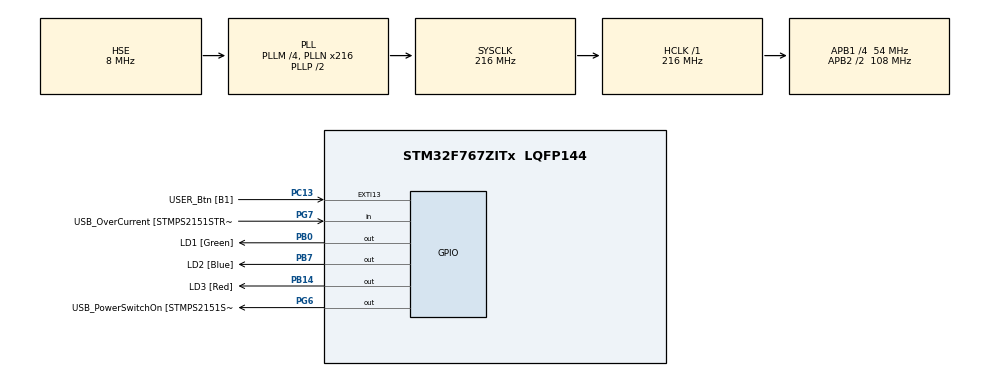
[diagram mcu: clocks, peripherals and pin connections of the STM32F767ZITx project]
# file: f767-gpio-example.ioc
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Mcu.Family=STM32F7
Mcu.Name=STM32F767ZITx
Mcu.Package=LQFP144
NVIC.EXTI15_10_IRQn=true\:0\:0\:false\:false\:true\:true\:true
NVIC.PriorityGroup=NVIC_PRIORITYGROUP_4
PA1.GPIO_Label=RMII_REF_CLK [LAN8742A-CZ-TR_REFCLK0]
PA1.Signal=ETH_REF_CLK
PA10.GPIO_Label=USB_ID
PA10.Signal=USB_OTG_FS_ID
PA11.GPIO_Label=USB_DM
PA11.Signal=USB_OTG_FS_DM
PA12.GPIO_Label=USB_DP
PA12.Signal=USB_OTG_FS_DP
PA13.GPIO_Label=TMS
PA13.Mode=Serial_Wire
PA13.Signal=SYS_JTMS-SWDIO
PA14.GPIO_Label=TCK
PA14.Mode=Serial_Wire
PA14.Signal=SYS_JTCK-SWCLK
PA2.GPIO_Label=RMII_MDIO [LAN8742A-CZ-TR_MDIO]
PA2.Signal=ETH_MDIO
PA7.GPIO_Label=RMII_CRS_DV [LAN8742A-CZ-TR_CRS_DV]
PA7.Signal=ETH_CRS_DV
PA8.GPIO_Label=USB_SOF [TP1]
PA8.Signal=USB_OTG_FS_SOF
PA9.GPIO_Label=USB_VBUS
PA9.Signal=USB_OTG_FS_VBUS
PB0.GPIO_Label=LD1 [Green]
PB0.Signal=GPIO_Output
PB13.GPIO_Label=RMII_TXD1 [LAN8742A-CZ-TR_TXD1]
PB13.Signal=ETH_TXD1
PB14.GPIO_Label=LD3 [Red]
PB14.Signal=GPIO_Output
PB3.GPIO_Label=SWO
PB3.Signal=SYS_JTDO-SWO
PB7.GPIO_Label=LD2 [Blue]
PB7.Signal=GPIO_Output
PC1.GPIO_Label=RMII_MDC [LAN8742A-CZ-TR_MDC]
PC1.Signal=ETH_MDC
PC13.GPIO_Label=USER_Btn [B1]
PC13.Signal=GPXTI13
PC14/OSC32_IN.Mode=LSE-External-Oscillator
PC14/OSC32_IN.Signal=RCC_OSC32_IN
PC15/OSC32_OUT.Mode=LSE-External-Oscillator
PC15/OSC32_OUT.Signal=RCC_OSC32_OUT
PC4.GPIO_Label=RMII_RXD0 [LAN8742A-CZ-TR_RXD0]
PC4.Signal=ETH_RXD0
PC5.GPIO_Label=RMII_RXD1 [LAN8742A-CZ-TR_RXD1]
PC5.Signal=ETH_RXD1
PD8.GPIO_Label=STLK_RX [STM32F103CBT6_PA3]
PD8.Signal=USART3_TX
PD9.GPIO_Label=STLK_TX [STM32F103CBT6_PA2]
PD9.Signal=USART3_RX
PG11.GPIO_Label=RMII_TX_EN [LAN8742A-CZ-TR_TXEN]
PG11.Signal=ETH_TX_EN
PG13.GPIO_Label=RMII_TXD0 [LAN8742A-CZ-TR_TXD0]
PG13.Signal=ETH_TXD0
PG6.GPIO_Label=USB_PowerSwitchOn [STMPS2151STR_EN]
PG6.Signal=GPIO_Output
PG7.GPIO_Label=USB_OverCurrent [STMPS2151STR_FAULT]
PG7.Signal=GPIO_Input
PH0/OSC_IN.GPIO_Label=MCO [STM32F103CBT6_PA8]
PH0/OSC_IN.Mode=HSE-External-Oscillator
PH0/OSC_IN.Signal=RCC_OSC_IN
PH1/OSC_OUT.Mode=HSE-External-Oscillator
PH1/OSC_OUT.Signal=RCC_OSC_OUT
ProjectManager.HeapSize=0x200
ProjectManager.StackSize=0x400
ProjectManager.TargetToolchain=STM32CubeIDE
RCC.48MHZClocksFreq_Value=24000000
RCC.AHBFreq_Value=216000000
RCC.APB1CLKDivider=RCC_HCLK_DIV4
RCC.APB1Freq_Value=54000000
RCC.APB1TimFreq_Value=108000000
RCC.APB2CLKDivider=RCC_HCLK_DIV2
RCC.APB2Freq_Value=108000000
RCC.APB2TimFreq_Value=216000000
RCC.CortexFreq_Value=216000000
RCC.HCLKFreq_Value=216000000
RCC.HSE_VALUE=8000000
RCC.HSI_VALUE=16000000
RCC.PLLM=4
RCC.PLLMUL=RCC_PLL_MUL9
RCC.PLLN=216
RCC.PLLQ=4
RCC.PLLSourceVirtual=RCC_PLLSOURCE_HSE
RCC.PRESCALERUSB=RCC_USBCLKSOURCE_PLL_DIV1_5
RCC.SYSCLKFreq_VALUE=216000000
RCC.SYSCLKSource=RCC_SYSCLKSOURCE_PLLCLK
RCC.SYSCLKSourceVirtual=RCC_SYSCLKSOURCE_PLLCLK
RCC.USBFreq_Value=108000000
RCC.VCOOutputFreq_Value=432000000
board=NUCLEO-F767ZI

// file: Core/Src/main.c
/* USER CODE BEGIN Header */
/**
  ******************************************************************************
  * @file           : main.c
  * @brief          : Main program body
  ******************************************************************************
  * @attention
  *
  * <h2><center>&copy; Copyright (c) 2021 STMicroelectronics.
  * All rights reserved.</center></h2>
  *
  * This software component is licensed by ST under BSD 3-Clause license,
  * the "License"; You may not use this file except in compliance with the
  * License. You may obtain a copy of the License at:
  *                        opensource.org/licenses/BSD-3-Clause
  *
  ******************************************************************************
  */
/* USER CODE END Header */
#include "main.h"

/* USER CODE BEGIN PTD */

//#define PROJECT_BCD_COUNTER
#define PROJECT_TRAFFIC_LIGHTS

/* USER CODE END PTD */

void SystemClock_Config(void);
static void MX_GPIO_Init(void);

/* USER CODE BEGIN 0 */

#ifdef PROJECT_BCD_COUNTER
uint16_t writeVal = 0;

uint16_t pinArr[] = {LD1_Pin, LD2_Pin, LD3_Pin};

void HAL_GPIO_EXTI_Callback(uint16_t GPIO_Pin)
{
  if(GPIO_Pin == USER_Btn_Pin)
  {
	  for(int i = 0; i < 3; i++)
	  {
		  HAL_GPIO_WritePin(GPIOB, pinArr[i], (1 << i) & writeVal);
	  }
	  writeVal++;
	  if(writeVal == 8) writeVal = 0;
  }
}
#endif

#ifdef PROJECT_TRAFFIC_LIGHTS

uint8_t flag = 0;
void HAL_GPIO_EXTI_Callback(uint16_t GPIO_Pin)
{
  if(GPIO_Pin == USER_Btn_Pin)
  {
	  flag = 1;
  }
}

void myDelay(uint32_t delayTime)
{
	uint32_t lastTime = HAL_GetTick();
	while(HAL_GetTick() - lastTime < delayTime && flag == 0);
}

#endif

/* USER CODE END 0 */

int main(void)
{

  /* MCU Configuration--------------------------------------------------------*/

  /* Reset of all peripherals, Initializes the Flash interface and the Systick. */
  HAL_Init();

  /* Configure the system clock */
  SystemClock_Config();

  /* Initialize all configured peripherals */
  MX_GPIO_Init();

  /* Infinite loop */
  /* USER CODE BEGIN WHILE */
  while (1)
  {

#ifdef PROJECT_TRAFFIC_LIGHTS
	  HAL_GPIO_WritePin(LD2_GPIO_Port, LD2_Pin, GPIO_PIN_RESET);
	  HAL_GPIO_WritePin(LD3_GPIO_Port, LD3_Pin, GPIO_PIN_RESET);
	  HAL_GPIO_WritePin(LD1_GPIO_Port, LD1_Pin, GPIO_PIN_SET);
	  myDelay(3000);
	  if(flag == 1) goto son;
	  HAL_GPIO_WritePin(LD1_GPIO_Port, LD1_Pin, GPIO_PIN_RESET);
	  HAL_GPIO_WritePin(LD3_GPIO_Port, LD3_Pin, GPIO_PIN_RESET);
	  HAL_GPIO_WritePin(LD2_GPIO_Port, LD2_Pin, GPIO_PIN_SET);
	  myDelay(1000);
	  if(flag == 1) goto son;
	  son:
	  HAL_GPIO_WritePin(LD1_GPIO_Port, LD1_Pin, GPIO_PIN_RESET);
	  HAL_GPIO_WritePin(LD2_GPIO_Port, LD2_Pin, GPIO_PIN_RESET);
	  HAL_GPIO_WritePin(LD3_GPIO_Port, LD3_Pin, GPIO_PIN_SET);
	  flag = 0;
	  myDelay(3000);
	  if(flag == 1) goto son;
#endif

    /* USER CODE END WHILE */

  }
}

void SystemClock_Config(void)
{
  RCC_OscInitTypeDef RCC_OscInitStruct = {0};
  RCC_ClkInitTypeDef RCC_ClkInitStruct = {0};

  /** Configure LSE Drive Capability
  */
  HAL_PWR_EnableBkUpAccess();
  /** Configure the main internal regulator output voltage
  */
  __HAL_RCC_PWR_CLK_ENABLE();
  __HAL_PWR_VOLTAGESCALING_CONFIG(PWR_REGULATOR_VOLTAGE_SCALE1);
  /** Initializes the RCC Oscillators according to the specified parameters
  * in the RCC_OscInitTypeDef structure.
  */
  RCC_OscInitStruct.OscillatorType = RCC_OSCILLATORTYPE_HSE;
  RCC_OscInitStruct.HSEState = RCC_HSE_ON;
  RCC_OscInitStruct.PLL.PLLState = RCC_PLL_ON;
  RCC_OscInitStruct.PLL.PLLSource = RCC_PLLSOURCE_HSE;
  RCC_OscInitStruct.PLL.PLLM = 4;
  RCC_OscInitStruct.PLL.PLLN = 216;
  RCC_OscInitStruct.PLL.PLLP = RCC_PLLP_DIV2;
  RCC_OscInitStruct.PLL.PLLQ = 4;
  RCC_OscInitStruct.PLL.PLLR = 2;
  if (HAL_RCC_OscConfig(&RCC_OscInitStruct) != HAL_OK)
  {
    Error_Handler();
  }
  /** Activate the Over-Drive mode
  */
  if (HAL_PWREx_EnableOverDrive() != HAL_OK)
  {
    Error_Handler();
  }
  /** Initializes the CPU, AHB and APB buses clocks
  */
  RCC_ClkInitStruct.ClockType = RCC_CLOCKTYPE_HCLK|RCC_CLOCKTYPE_SYSCLK
                              |RCC_CLOCKTYPE_PCLK1|RCC_CLOCKTYPE_PCLK2;
  RCC_ClkInitStruct.SYSCLKSource = RCC_SYSCLKSOURCE_PLLCLK;
  RCC_ClkInitStruct.AHBCLKDivider = RCC_SYSCLK_DIV1;
  RCC_ClkInitStruct.APB1CLKDivider = RCC_HCLK_DIV4;
  RCC_ClkInitStruct.APB2CLKDivider = RCC_HCLK_DIV2;

  if (HAL_RCC_ClockConfig(&RCC_ClkInitStruct, FLASH_LATENCY_7) != HAL_OK)
  {
    Error_Handler();
  }
}

static void MX_GPIO_Init(void)
{
  GPIO_InitTypeDef GPIO_InitStruct = {0};

  /* GPIO Ports Clock Enable */
  __HAL_RCC_GPIOC_CLK_ENABLE();
  __HAL_RCC_GPIOH_CLK_ENABLE();
  __HAL_RCC_GPIOA_CLK_ENABLE();
  __HAL_RCC_GPIOB_CLK_ENABLE();
  __HAL_RCC_GPIOD_CLK_ENABLE();
  __HAL_RCC_GPIOG_CLK_ENABLE();

  /*Configure GPIO pin Output Level */
  HAL_GPIO_WritePin(GPIOB, LD1_Pin|LD3_Pin|LD2_Pin, GPIO_PIN_RESET);

  /*Configure GPIO pin Output Level */
  HAL_GPIO_WritePin(USB_PowerSwitchOn_GPIO_Port, USB_PowerSwitchOn_Pin, GPIO_PIN_RESET);

  /*Configure GPIO pin : USER_Btn_Pin */
  GPIO_InitStruct.Pin = USER_Btn_Pin;
  GPIO_InitStruct.Mode = GPIO_MODE_IT_RISING;
  GPIO_InitStruct.Pull = GPIO_NOPULL;
  HAL_GPIO_Init(USER_Btn_GPIO_Port, &GPIO_InitStruct);

  /*Configure GPIO pins : RMII_MDC_Pin RMII_RXD0_Pin RMII_RXD1_Pin */
  GPIO_InitStruct.Pin = RMII_MDC_Pin|RMII_RXD0_Pin|RMII_RXD1_Pin;
  GPIO_InitStruct.Mode = GPIO_MODE_AF_PP;
  GPIO_InitStruct.Pull = GPIO_NOPULL;
  GPIO_InitStruct.Speed = GPIO_SPEED_FREQ_VERY_HIGH;
  GPIO_InitStruct.Alternate = GPIO_AF11_ETH;
  HAL_GPIO_Init(GPIOC, &GPIO_InitStruct);

  /*Configure GPIO pins : RMII_REF_CLK_Pin RMII_MDIO_Pin RMII_CRS_DV_Pin */
  GPIO_InitStruct.Pin = RMII_REF_CLK_Pin|RMII_MDIO_Pin|RMII_CRS_DV_Pin;
  GPIO_InitStruct.Mode = GPIO_MODE_AF_PP;
  GPIO_InitStruct.Pull = GPIO_NOPULL;
  GPIO_InitStruct.Speed = GPIO_SPEED_FREQ_VERY_HIGH;
  GPIO_InitStruct.Alternate = GPIO_AF11_ETH;
  HAL_GPIO_Init(GPIOA, &GPIO_InitStruct);

  /*Configure GPIO pins : LD1_Pin LD3_Pin LD2_Pin */
  GPIO_InitStruct.Pin = LD1_Pin|LD3_Pin|LD2_Pin;
  GPIO_InitStruct.Mode = GPIO_MODE_OUTPUT_PP;
  GPIO_InitStruct.Pull = GPIO_NOPULL;
  GPIO_InitStruct.Speed = GPIO_SPEED_FREQ_LOW;
  HAL_GPIO_Init(GPIOB, &GPIO_InitStruct);

  /*Configure GPIO pin : RMII_TXD1_Pin */
  GPIO_InitStruct.Pin = RMII_TXD1_Pin;
  GPIO_InitStruct.Mode = GPIO_MODE_AF_PP;
  GPIO_InitStruct.Pull = GPIO_NOPULL;
  GPIO_InitStruct.Speed = GPIO_SPEED_FREQ_VERY_HIGH;
  GPIO_InitStruct.Alternate = GPIO_AF11_ETH;
  HAL_GPIO_Init(RMII_TXD1_GPIO_Port, &GPIO_InitStruct);

  /*Configure GPIO pins : STLK_RX_Pin STLK_TX_Pin */
  GPIO_InitStruct.Pin = STLK_RX_Pin|STLK_TX_Pin;
  GPIO_InitStruct.Mode = GPIO_MODE_AF_PP;
  GPIO_InitStruct.Pull = GPIO_NOPULL;
  GPIO_InitStruct.Speed = GPIO_SPEED_FREQ_VERY_HIGH;
  GPIO_InitStruct.Alternate = GPIO_AF7_USART3;
  HAL_GPIO_Init(GPIOD, &GPIO_InitStruct);

  /*Configure GPIO pin : USB_PowerSwitchOn_Pin */
  GPIO_InitStruct.Pin = USB_PowerSwitchOn_Pin;
  GPIO_InitStruct.Mode = GPIO_MODE_OUTPUT_PP;
  GPIO_InitStruct.Pull = GPIO_NOPULL;
  GPIO_InitStruct.Speed = GPIO_SPEED_FREQ_LOW;
  HAL_GPIO_Init(USB_PowerSwitchOn_GPIO_Port, &GPIO_InitStruct);

  /*Configure GPIO pin : USB_OverCurrent_Pin */
  GPIO_InitStruct.Pin = USB_OverCurrent_Pin;
  GPIO_InitStruct.Mode = GPIO_MODE_INPUT;
  GPIO_InitStruct.Pull = GPIO_NOPULL;
  HAL_GPIO_Init(USB_OverCurrent_GPIO_Port, &GPIO_InitStruct);

  /*Configure GPIO pins : USB_SOF_Pin USB_ID_Pin USB_DM_Pin USB_DP_Pin */
  GPIO_InitStruct.Pin = USB_SOF_Pin|USB_ID_Pin|USB_DM_Pin|USB_DP_Pin;
  GPIO_InitStruct.Mode = GPIO_MODE_AF_PP;
  GPIO_InitStruct.Pull = GPIO_NOPULL;
  GPIO_InitStruct.Speed = GPIO_SPEED_FREQ_VERY_HIGH;
  GPIO_InitStruct.Alternate = GPIO_AF10_OTG_FS;
  HAL_GPIO_Init(GPIOA, &GPIO_InitStruct);

  /*Configure GPIO pin : USB_VBUS_Pin */
  GPIO_InitStruct.Pin = USB_VBUS_Pin;
  GPIO_InitStruct.Mode = GPIO_MODE_INPUT;
  GPIO_InitStruct.Pull = GPIO_NOPULL;
  HAL_GPIO_Init(USB_VBUS_GPIO_Port, &GPIO_InitStruct);

  /*Configure GPIO pins : RMII_TX_EN_Pin RMII_TXD0_Pin */
  GPIO_InitStruct.Pin = RMII_TX_EN_Pin|RMII_TXD0_Pin;
  GPIO_InitStruct.Mode = GPIO_MODE_AF_PP;
  GPIO_InitStruct.Pull = GPIO_NOPULL;
  GPIO_InitStruct.Speed = GPIO_SPEED_FREQ_VERY_HIGH;
  GPIO_InitStruct.Alternate = GPIO_AF11_ETH;
  HAL_GPIO_Init(GPIOG, &GPIO_InitStruct);

  /* EXTI interrupt init*/
  HAL_NVIC_SetPriority(EXTI15_10_IRQn, 0, 0);
  HAL_NVIC_EnableIRQ(EXTI15_10_IRQn);

}

void Error_Handler(void)
{
  __disable_irq();
  while (1)
  {
  }
}

/************************ (C) COPYRIGHT STMicroelectronics *****END OF FILE****/
